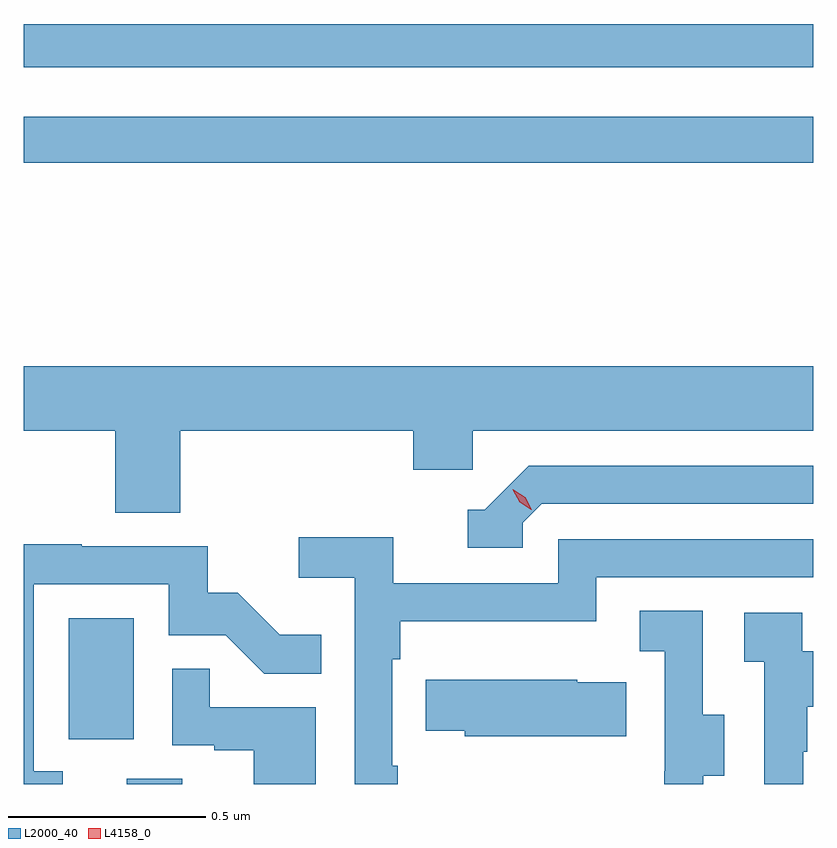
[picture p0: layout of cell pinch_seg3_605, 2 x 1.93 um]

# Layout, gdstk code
import gdstk
lib = gdstk.Library(unit=1e-6, precision=1e-09)
def R(c, l, rs):  # rectangles x0, y0, x1, y1
    for r in rs: c.add(gdstk.rectangle(r[:2], r[2:], *l))
def P(c, l, *ps):  # polygons
    for p in ps: c.add(gdstk.Polygon(p, *l))
L2000_40 = (2000, 40)
L4158_0 = (4158, 0)

pinch_seg3_605 = lib.new_cell('pinch_seg3_605')
R(pinch_seg3_605, L2000_40, [(1023.719,697.357,1023.859,697.37), (1023.572,697.47,1023.736,697.777), (1023.458,698.932,1025.458,699.048), (1023.458,699.174,1025.458,699.283)])
P(pinch_seg3_605, L2000_40, [(1023.854,698.252),(1024.445,698.252),(1024.445,698.154),(1024.596,698.154),(1024.596,698.252),(1025.458,698.252),(1025.458,698.416),(1023.458,698.416),(1023.458,698.252),(1023.689,698.252),(1023.689,698.044),(1023.854,698.044)],
  [(1024.722,698.019),(1024.77,698.067),(1025.458,698.067),(1025.458,698.163),(1024.737,698.163),(1024.626,698.052),(1024.583,698.052),(1024.583,697.956),(1024.722,697.956)],
  [(1024.405,697.403),(1024.392,697.403),(1024.392,697.673),(1024.412,697.673),(1024.412,697.769),(1024.908,697.769),(1024.908,697.881),(1025.458,697.881),(1025.458,697.977),(1024.812,697.977),(1024.812,697.866),(1024.394,697.866),(1024.394,697.982),(1024.155,697.982),(1024.155,697.88),(1024.296,697.88),(1024.296,697.357),(1024.405,697.357)],
  [(1023.556,697.389),(1023.483,697.389),(1023.483,697.863),(1023.825,697.863),(1023.825,697.734),(1023.969,697.734),(1024.067,697.636),(1024.211,697.636),(1024.211,697.735),(1024.107,697.735),(1024,697.842),(1023.924,697.842),(1023.924,697.959),(1023.605,697.959),(1023.605,697.964),(1023.458,697.964),(1023.458,697.357),(1023.556,697.357)],
  [(1025.179,697.378),(1025.233,697.378),(1025.233,697.533),(1025.178,697.533),(1025.178,697.796),(1025.019,697.796),(1025.019,697.693),(1025.082,697.693),(1025.082,697.389),(1025.081,697.389),(1025.081,697.357),(1025.179,697.357)],
  [(1025.433,697.439),(1025.443,697.439),(1025.443,697.553),(1025.458,697.553),(1025.458,697.693),(1025.43,697.693),(1025.43,697.791),(1025.283,697.791),(1025.283,697.667),(1025.334,697.667),(1025.334,697.357),(1025.433,697.357)],
  [(1024.198,697.551),(1023.929,697.551),(1023.929,697.649),(1023.834,697.649),(1023.834,697.455),(1023.941,697.455),(1023.941,697.443),(1024.04,697.443),(1024.04,697.357),(1024.198,697.357)],
  [(1024.985,697.615),(1024.86,697.615),(1024.86,697.621),(1024.477,697.621),(1024.477,697.492),(1024.575,697.492),(1024.575,697.478),(1024.985,697.478)])
P(pinch_seg3_605, L4158_0, [(1024.744,698.052),(1024.714,698.071),(1024.697,698.103),(1024.697,698.104),(1024.697,698.104),(1024.728,698.084),(1024.745,698.052),(1024.745,698.052)])

lib.write_gds('pinch_seg3_605.gds')
